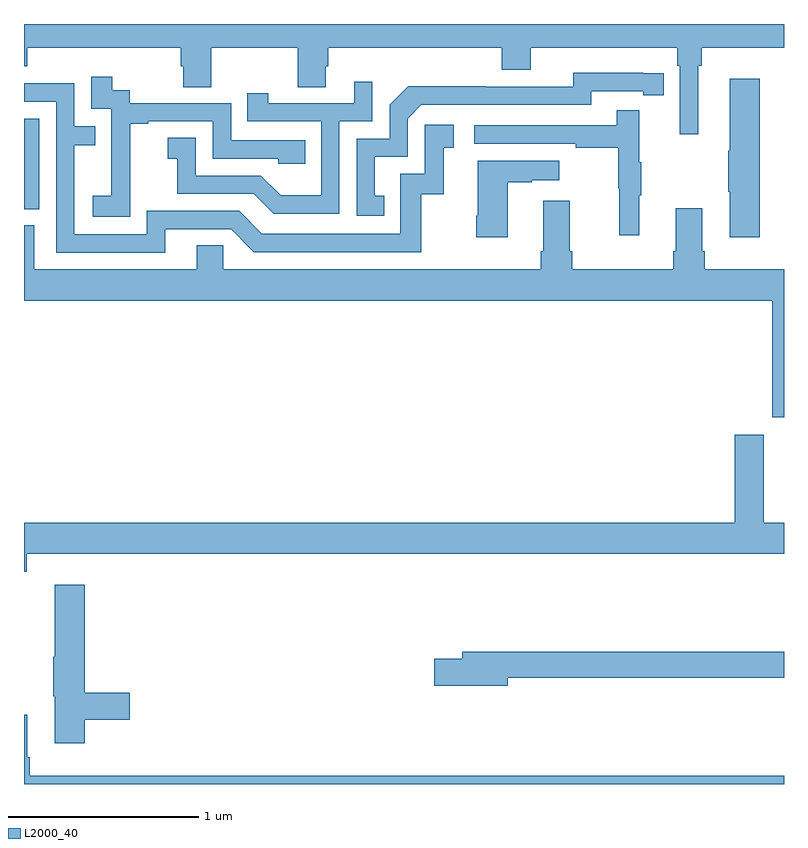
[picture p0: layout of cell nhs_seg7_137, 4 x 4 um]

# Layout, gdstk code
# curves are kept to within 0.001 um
import gdstk
lib = gdstk.Library(unit=1e-6, precision=1e-09)
def R(c, l, rs):  # rectangles x0, y0, x1, y1
    for r in rs: c.add(gdstk.rectangle(r[:2], r[2:], *l))
def P(c, l, *ps):  # polygons
    for p in ps: c.add(gdstk.Polygon(p, *l))
L2000_40 = (2000, 40)

nhs_seg7_137 = lib.new_cell('nhs_seg7_137')
R(nhs_seg7_137, L2000_40, [(119,1073.025,119.079,1073.502)])
P(nhs_seg7_137, L2000_40, [(122.548,1073.78),(122.567,1073.78),(122.567,1073.876),(123,1073.876),(123,1074),(119,1074),(119,1073.777),(119.018,1073.777),(119.018,1073.876),(119.825,1073.876),(119.825,1073.778),(119.837,1073.778),(119.837,1073.668),(119.985,1073.668),(119.985,1073.876),(120.442,1073.876),(120.442,1073.668),(120.589,1073.668),(120.589,1073.778),(120.602,1073.778),(120.602,1073.876),(121.514,1073.876),(121.514,1073.759),(121.666,1073.759),(121.666,1073.876),(122.438,1073.876),(122.438,1073.78),(122.451,1073.78),(122.451,1073.421),(122.548,1073.421)],
  [(120.896,1073.097),(120.847,1073.097),(120.847,1073.301),(121.02,1073.301),(121.02,1073.502),(121.092,1073.574),(121.986,1073.574),(121.986,1073.646),(122.258,1073.646),(122.258,1073.626),(122.366,1073.626),(122.366,1073.742),(121.89,1073.743),(121.89,1073.67),(121.43,1073.67),(121.43,1073.672),(121.022,1073.672),(120.924,1073.574),(120.924,1073.397),(120.75,1073.397),(120.75,1072.992),(120.896,1072.992)],
  [(119.559,1073.191),(119.558,1073.191),(119.558,1073.475),(119.653,1073.475),(119.653,1073.487),(119.994,1073.487),(119.994,1073.292),(120.339,1073.292),(120.339,1073.265),(120.479,1073.265),(120.479,1073.388),(120.09,1073.388),(120.09,1073.583),(119.556,1073.583),(119.556,1073.652),(119.464,1073.652),(119.464,1073.722),(119.355,1073.722),(119.355,1073.553),(119.46,1073.553),(119.46,1073.324),(119.459,1073.324),(119.459,1073.095),(119.361,1073.095),(119.361,1072.985),(119.559,1072.985)],
  [(122.873,1073.713),(122.714,1073.713),(122.714,1073.333),(122.707,1073.333),(122.707,1073.116),(122.714,1073.116),(122.714,1072.878),(122.873,1072.878)],
  [(120.66,1073.487),(120.834,1073.487),(120.834,1073.695),(120.737,1073.695),(120.737,1073.583),(120.286,1073.583),(120.286,1073.635),(120.175,1073.635),(120.175,1073.487),(120.564,1073.487),(120.564,1073.098),(120.35,1073.098),(120.246,1073.202),(119.904,1073.202),(119.904,1073.401),(119.757,1073.401),(119.757,1073.291),(119.806,1073.291),(119.806,1073.106),(120.209,1073.106),(120.314,1073.001),(120.66,1073.001)],
  [(119.743,1072.92),(120.09,1072.92),(120.21,1072.8),(121.09,1072.8),(121.09,1073.103),(121.208,1073.103),(121.208,1073.349),(121.261,1073.349),(121.261,1073.47),(121.11,1073.47),(121.11,1073.211),(120.981,1073.211),(120.981,1072.896),(120.252,1072.896),(120.132,1073.016),(119.646,1073.016),(119.646,1072.893),(119.265,1072.893),(119.265,1073.362),(119.375,1073.362),(119.375,1073.463),(119.265,1073.463),(119.265,1073.688),(119,1073.688),(119,1073.592),(119.169,1073.592),(119.169,1072.797),(119.743,1072.797)],
  [(122.237,1073.099),(122.248,1073.099),(122.248,1073.273),(122.237,1073.273),(122.237,1073.545),(122.119,1073.545),(122.119,1073.466),(121.371,1073.466),(121.371,1073.37),(121.903,1073.37),(121.903,1073.35),(122.127,1073.35),(122.127,1073.136),(122.134,1073.136),(122.134,1072.887),(122.237,1072.887)],
  [(121.546,1073.167),(121.673,1073.167),(121.673,1073.177),(121.816,1073.177),(121.816,1073.281),(121.388,1073.281),(121.388,1072.99),(121.381,1072.99),(121.381,1072.878),(121.546,1072.878)],
  [(123,1072.708),(122.582,1072.708),(122.582,1072.804),(122.569,1072.804),(122.569,1073.029),(122.429,1073.029),(122.429,1072.804),(122.417,1072.804),(122.417,1072.708),(121.886,1072.708),(121.886,1072.804),(121.873,1072.804),(121.873,1073.071),(121.733,1073.071),(121.733,1072.804),(121.721,1072.804),(121.721,1072.708),(120.048,1072.708),(120.048,1072.835),(119.909,1072.835),(119.909,1072.708),(119.053,1072.708),(119.053,1072.94),(119,1072.94),(119,1072.544),(122.939,1072.544),(122.939,1071.93),(123,1071.93)],
  [(119.015,1071.212),(123,1071.212),(123,1071.376),(122.893,1071.376),(122.893,1071.838),(122.741,1071.838),(122.741,1071.376),(119,1071.376),(119,1071.116),(119.015,1071.116)],
  [(119.321,1070.338),(119.557,1070.338),(119.557,1070.48),(119.321,1070.48),(119.321,1071.049),(119.162,1071.049),(119.162,1070.669),(119.155,1070.669),(119.155,1070.463),(119.162,1070.463),(119.162,1070.214),(119.321,1070.214)],
  [(121.546,1070.56),(123,1070.56),(123,1070.696),(121.307,1070.696),(121.307,1070.66),(121.158,1070.66),(121.158,1070.518),(121.546,1070.518)],
  [(123,1070.044),(119.03,1070.044),(119.03,1070.14),(119.017,1070.14),(119.017,1070.365),(119,1070.365),(119,1070),(123,1070)])

lib.write_gds('nhs_seg7_137.gds')
